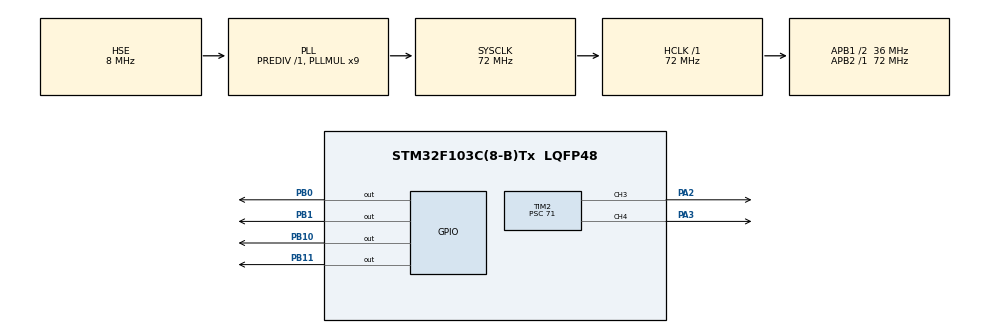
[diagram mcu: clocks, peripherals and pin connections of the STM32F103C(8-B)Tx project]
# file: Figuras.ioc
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Mcu.Family=STM32F1
Mcu.Name=STM32F103C(8-B)Tx
Mcu.Package=LQFP48
NVIC.PriorityGroup=NVIC_PRIORITYGROUP_4
PA2.Signal=S_TIM2_CH3
PA3.Signal=S_TIM2_CH4
PB0.Signal=GPIO_Output
PB1.Signal=GPIO_Output
PB10.Signal=GPIO_Output
PB11.Signal=GPIO_Output
PD0-OSC_IN.Mode=HSE-External-Oscillator
PD0-OSC_IN.Signal=RCC_OSC_IN
PD1-OSC_OUT.Mode=HSE-External-Oscillator
PD1-OSC_OUT.Signal=RCC_OSC_OUT
ProjectManager.HeapSize=0x200
ProjectManager.StackSize=0x400
ProjectManager.TargetToolchain=STM32CubeIDE
RCC.AHBFreq_Value=72000000
RCC.APB1CLKDivider=RCC_HCLK_DIV2
RCC.APB1Freq_Value=36000000
RCC.APB1TimFreq_Value=72000000
RCC.APB2Freq_Value=72000000
RCC.APB2TimFreq_Value=72000000
RCC.HCLKFreq_Value=72000000
RCC.PLLMUL=RCC_PLL_MUL9
RCC.PLLSourceVirtual=RCC_PLLSOURCE_HSE
RCC.SYSCLKFreq_VALUE=72000000
RCC.SYSCLKSource=RCC_SYSCLKSOURCE_PLLCLK
RCC.USBFreq_Value=72000000
SH.S_TIM2_CH3.0=TIM2_CH3,PWM Generation3 CH3
SH.S_TIM2_CH4.0=TIM2_CH4,PWM Generation4 CH4
TIM2.Channel-PWM\ Generation3\ CH3=TIM_CHANNEL_3
TIM2.Channel-PWM\ Generation4\ CH4=TIM_CHANNEL_4
TIM2.Period=999
TIM2.Prescaler=71
VP_SYS_VS_ND.Mode=No_Debug
board=custom

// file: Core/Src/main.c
/* USER CODE BEGIN Header */
/**
  ******************************************************************************
  * @file           : main.c
  * @brief          : Main program body
  ******************************************************************************
  * @attention
  *
  * Copyright (c) 2026 STMicroelectronics.
  * All rights reserved.
  *
  * This software is licensed under terms that can be found in the LICENSE file
  * in the root directory of this software component.
  * If no LICENSE file comes with this software, it is provided AS-IS.
  *
  ******************************************************************************
  */
/* USER CODE END Header */
#include "main.h"

TIM_HandleTypeDef htim2;

void SystemClock_Config(void);
static void MX_GPIO_Init(void);
static void MX_TIM2_Init(void);

/* USER CODE BEGIN 0 */

// ============================================================
// FUNCIONES DE CONTROL DE MOTORES
// ============================================================

/**
  * @brief  Mueve el motor izquierdo hacia adelante
  * @param  velocidad: Valor de PWM (0 a 999)
  */
void MotorIzq_Adelante(uint16_t velocidad) {
    HAL_GPIO_WritePin(GPIOB, GPIO_PIN_0, GPIO_PIN_SET);   // IN1 = 1
    HAL_GPIO_WritePin(GPIOB, GPIO_PIN_1, GPIO_PIN_RESET); // IN2 = 0
    __HAL_TIM_SET_COMPARE(&htim2, TIM_CHANNEL_3, velocidad);
}

/**
  * @brief  Mueve el motor izquierdo hacia atrás
  * @param  velocidad: Valor de PWM (0 a 999)
  */
void MotorIzq_Atras(uint16_t velocidad) {
    HAL_GPIO_WritePin(GPIOB, GPIO_PIN_0, GPIO_PIN_RESET); // IN1 = 0
    HAL_GPIO_WritePin(GPIOB, GPIO_PIN_1, GPIO_PIN_SET);   // IN2 = 1
    __HAL_TIM_SET_COMPARE(&htim2, TIM_CHANNEL_3, velocidad);
}

/**
  * @brief  Detiene el motor izquierdo (freno)
  */
void MotorIzq_Detener(void) {
    HAL_GPIO_WritePin(GPIOB, GPIO_PIN_0, GPIO_PIN_RESET); // IN1 = 0
    HAL_GPIO_WritePin(GPIOB, GPIO_PIN_1, GPIO_PIN_RESET); // IN2 = 0
    __HAL_TIM_SET_COMPARE(&htim2, TIM_CHANNEL_3, 0);
}

/**
  * @brief  Mueve el motor derecho hacia adelante
  * @param  velocidad: Valor de PWM (0 a 999)
  */
void MotorDer_Adelante(uint16_t velocidad) {
    HAL_GPIO_WritePin(GPIOB, GPIO_PIN_10, GPIO_PIN_SET);  // IN3 = 1
    HAL_GPIO_WritePin(GPIOB, GPIO_PIN_11, GPIO_PIN_RESET);// IN4 = 0
    __HAL_TIM_SET_COMPARE(&htim2, TIM_CHANNEL_4, velocidad);
}

/**
  * @brief  Mueve el motor derecho hacia atrás
  * @param  velocidad: Valor de PWM (0 a 999)
  */
void MotorDer_Atras(uint16_t velocidad) {
    HAL_GPIO_WritePin(GPIOB, GPIO_PIN_10, GPIO_PIN_RESET);// IN3 = 0
    HAL_GPIO_WritePin(GPIOB, GPIO_PIN_11, GPIO_PIN_SET);  // IN4 = 1
    __HAL_TIM_SET_COMPARE(&htim2, TIM_CHANNEL_4, velocidad);
}

/**
  * @brief  Detiene el motor derecho (freno)
  */
void MotorDer_Detener(void) {
    HAL_GPIO_WritePin(GPIOB, GPIO_PIN_10, GPIO_PIN_RESET);// IN3 = 0
    HAL_GPIO_WritePin(GPIOB, GPIO_PIN_11, GPIO_PIN_RESET);// IN4 = 0
    __HAL_TIM_SET_COMPARE(&htim2, TIM_CHANNEL_4, 0);
}

/* USER CODE END 0 */

int main(void)
{

  /* MCU Configuration--------------------------------------------------------*/

  /* Reset of all peripherals, Initializes the Flash interface and the Systick. */
  HAL_Init();

  /* Configure the system clock */
  SystemClock_Config();

  /* Initialize all configured peripherals */
  MX_GPIO_Init();
  MX_TIM2_Init();
  /* USER CODE BEGIN 2 */

  // Iniciar los canales PWM del Timer 2
  HAL_TIM_PWM_Start(&htim2, TIM_CHANNEL_3); // Motor Izquierdo
  HAL_TIM_PWM_Start(&htim2, TIM_CHANNEL_4); // Motor Derecho

  // Asegurar que los motores arranquen detenidos
  MotorIzq_Detener();
  MotorDer_Detener();

  HAL_Delay(1000); // Pausa inicial de 1 segundo

  /* USER CODE END 2 */

  /* Infinite loop */
  /* USER CODE BEGIN WHILE */
  while (1)
  {
    // ---- PRUEBA 1: Ambos motores hacia adelante ----
    MotorIzq_Adelante(500);
    MotorDer_Adelante(500);
    HAL_Delay(2000); // Avanzar 2 segundos

    // ---- PRUEBA 2: Detener ----
    MotorIzq_Detener();
    MotorDer_Detener();
    HAL_Delay(1000);

    // ---- PRUEBA 3: Ambos motores hacia atrás ----
    MotorIzq_Atras(500);
    MotorDer_Atras(500);
    HAL_Delay(2000);

    // ---- PRUEBA 4: Detener ----
    MotorIzq_Detener();
    MotorDer_Detener();
    HAL_Delay(1000);

    // ---- PRUEBA 5: Giro sobre su eje (Izq atrás, Der adelante) ----
    MotorIzq_Atras(500);
    MotorDer_Adelante(500);
    HAL_Delay(2000);

    // ---- PRUEBA 6: Detener ----
    MotorIzq_Detener();
    MotorDer_Detener();
    HAL_Delay(3000); // Pausa larga antes de repetir el ciclo

    /* USER CODE END WHILE */

  }
}

void SystemClock_Config(void)
{
  RCC_OscInitTypeDef RCC_OscInitStruct = {0};
  RCC_ClkInitTypeDef RCC_ClkInitStruct = {0};

  /** Initializes the RCC Oscillators according to the specified parameters
  * in the RCC_OscInitTypeDef structure.
  */
  RCC_OscInitStruct.OscillatorType = RCC_OSCILLATORTYPE_HSE;
  RCC_OscInitStruct.HSEState = RCC_HSE_ON;
  RCC_OscInitStruct.HSEPredivValue = RCC_HSE_PREDIV_DIV1;
  RCC_OscInitStruct.HSIState = RCC_HSI_ON;
  RCC_OscInitStruct.PLL.PLLState = RCC_PLL_ON;
  RCC_OscInitStruct.PLL.PLLSource = RCC_PLLSOURCE_HSE;
  RCC_OscInitStruct.PLL.PLLMUL = RCC_PLL_MUL9;
  if (HAL_RCC_OscConfig(&RCC_OscInitStruct) != HAL_OK)
  {
    Error_Handler();
  }

  /** Initializes the CPU, AHB and APB buses clocks
  */
  RCC_ClkInitStruct.ClockType = RCC_CLOCKTYPE_HCLK|RCC_CLOCKTYPE_SYSCLK
                              |RCC_CLOCKTYPE_PCLK1|RCC_CLOCKTYPE_PCLK2;
  RCC_ClkInitStruct.SYSCLKSource = RCC_SYSCLKSOURCE_PLLCLK;
  RCC_ClkInitStruct.AHBCLKDivider = RCC_SYSCLK_DIV1;
  RCC_ClkInitStruct.APB1CLKDivider = RCC_HCLK_DIV2;
  RCC_ClkInitStruct.APB2CLKDivider = RCC_HCLK_DIV1;

  if (HAL_RCC_ClockConfig(&RCC_ClkInitStruct, FLASH_LATENCY_2) != HAL_OK)
  {
    Error_Handler();
  }
}

static void MX_TIM2_Init(void)
{

  TIM_MasterConfigTypeDef sMasterConfig = {0};
  TIM_OC_InitTypeDef sConfigOC = {0};

  htim2.Instance = TIM2;
  htim2.Init.Prescaler = 71;
  htim2.Init.CounterMode = TIM_COUNTERMODE_UP;
  htim2.Init.Period = 999;
  htim2.Init.ClockDivision = TIM_CLOCKDIVISION_DIV1;
  htim2.Init.AutoReloadPreload = TIM_AUTORELOAD_PRELOAD_DISABLE;
  if (HAL_TIM_PWM_Init(&htim2) != HAL_OK)
  {
    Error_Handler();
  }
  sMasterConfig.MasterOutputTrigger = TIM_TRGO_RESET;
  sMasterConfig.MasterSlaveMode = TIM_MASTERSLAVEMODE_DISABLE;
  if (HAL_TIMEx_MasterConfigSynchronization(&htim2, &sMasterConfig) != HAL_OK)
  {
    Error_Handler();
  }
  sConfigOC.OCMode = TIM_OCMODE_PWM1;
  sConfigOC.Pulse = 0;
  sConfigOC.OCPolarity = TIM_OCPOLARITY_HIGH;
  sConfigOC.OCFastMode = TIM_OCFAST_DISABLE;
  if (HAL_TIM_PWM_ConfigChannel(&htim2, &sConfigOC, TIM_CHANNEL_3) != HAL_OK)
  {
    Error_Handler();
  }
  if (HAL_TIM_PWM_ConfigChannel(&htim2, &sConfigOC, TIM_CHANNEL_4) != HAL_OK)
  {
    Error_Handler();
  }
  HAL_TIM_MspPostInit(&htim2);

}

static void MX_GPIO_Init(void)
{
  GPIO_InitTypeDef GPIO_InitStruct = {0};

  /* GPIO Ports Clock Enable */
  __HAL_RCC_GPIOD_CLK_ENABLE();
  __HAL_RCC_GPIOA_CLK_ENABLE();
  __HAL_RCC_GPIOB_CLK_ENABLE();

  /*Configure GPIO pin Output Level */
  HAL_GPIO_WritePin(GPIOB, GPIO_PIN_0|GPIO_PIN_1|GPIO_PIN_10|GPIO_PIN_11, GPIO_PIN_RESET);

  /*Configure GPIO pins : PB0 PB1 PB10 PB11 */
  GPIO_InitStruct.Pin = GPIO_PIN_0|GPIO_PIN_1|GPIO_PIN_10|GPIO_PIN_11;
  GPIO_InitStruct.Mode = GPIO_MODE_OUTPUT_PP;
  GPIO_InitStruct.Pull = GPIO_NOPULL;
  GPIO_InitStruct.Speed = GPIO_SPEED_FREQ_LOW;
  HAL_GPIO_Init(GPIOB, &GPIO_InitStruct);

}

void Error_Handler(void)
{
  __disable_irq();
  while (1)
  {
  }
}
